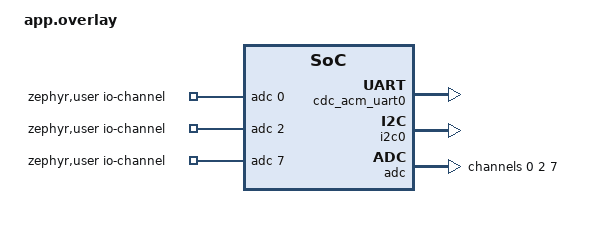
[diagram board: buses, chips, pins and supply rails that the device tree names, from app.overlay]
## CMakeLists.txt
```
# SPDX-License-Identifier: Apache-2.0

cmake_minimum_required(VERSION 3.20.0)
find_package(Zephyr REQUIRED HINTS $ENV{ZEPHYR_BASE})
project(MDL_interface_board_test_v1.0)

FILE(GLOB app_sources src/*.c)
target_sources(app PRIVATE ${app_sources})
```

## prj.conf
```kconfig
CONFIG_STDOUT_CONSOLE=y
CONFIG_USB_DEVICE_STACK=y
CONFIG_USB_DEVICE_PRODUCT="INTERFACE BOARD"
CONFIG_LOG=y
CONFIG_USB_DRIVER_LOG_LEVEL_ERR=y
CONFIG_USB_DEVICE_LOG_LEVEL_ERR=y
CONFIG_SERIAL=y
CONFIG_UART_INTERRUPT_DRIVEN=y
CONFIG_UART_LINE_CTRL=y
CONFIG_ADC=y
#CONFIG_ADC_ASYNC=y

CONFIG_BOARD_ENABLE_DCDC=n
CONFIG_BOARD_ENABLE_DCDC_HV=n
CONFIG_DEBUG_THREAD_INFO=y
CONFIG_DEBUG_OPTIMIZATIONS=y
CONFIG_I2C=y
CONFIG_I2C_NRFX=y
CONFIG_NRFX_TWI0=y
```

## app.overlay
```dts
/*
 * Copyright (c) 2021 Nordic Semiconductor ASA
 *
 * SPDX-License-Identifier: Apache-2.0
 */

/ {
	zephyr,user {
		io-channels = <&adc 0>, <&adc 2>, <&adc 7>;
	};
};

&zephyr_udc0 {
	cdc_acm_uart0 {
		compatible = "zephyr,cdc-acm-uart";
	};
};


&i2c0 {
	compatible = "nordic,nrf-twi";
	status = "okay";
	pinctrl-0 = <&i2c0_default>;	// SDA=P0.06, SCL=P0.26
	pinctrl-1 = <&i2c0_sleep>;
	pinctrl-names = "default", "sleep";
};

&adc {
	#address-cells = <1>;
	#size-cells = <0>;

	channel@0 {
		reg = <0>;
		zephyr,gain = "ADC_GAIN_1_6";
		zephyr,reference = "ADC_REF_INTERNAL";
		zephyr,acquisition-time = <ADC_ACQ_TIME(ADC_ACQ_TIME_MICROSECONDS, 10)>;
		zephyr,input-positive = <NRF_SAADC_AIN0>; /* P0.02 */
		zephyr,resolution = <12>;
	};

	channel@2 {
		reg = <2>;
		zephyr,gain = "ADC_GAIN_1_6";
		zephyr,reference = "ADC_REF_INTERNAL";
		zephyr,acquisition-time = <ADC_ACQ_TIME(ADC_ACQ_TIME_MICROSECONDS, 10)>;
		zephyr,input-positive = <NRF_SAADC_AIN2>; /* P0.04 */
		zephyr,resolution = <12>;
	};

	channel@7 {
		reg = <7>;
		zephyr,gain = "ADC_GAIN_1_6";
		zephyr,reference = "ADC_REF_INTERNAL";
		zephyr,acquisition-time = <ADC_ACQ_TIME(ADC_ACQ_TIME_MICROSECONDS, 10)>;
		zephyr,input-positive = <NRF_SAADC_AIN5>; /* P0.29 */
		zephyr,resolution = <12>;
	};
};
```

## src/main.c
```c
/*
 * Copyright (c) 2019 Intel Corporation
 *
 * SPDX-License-Identifier: Apache-2.0
 */

/**
 * @file
 * @brief Sample echo app for CDC ACM class
 *
 * Sample app for USB CDC ACM class driver. The received data is echoed back
 * to the serial port.
 */


#include <stdio.h>
#include <zephyr/kernel.h>
#include <zephyr/device.h>
#include <zephyr/devicetree.h>
#include <zephyr/drivers/uart.h>
#include <zephyr/drivers/gpio.h>
#include <zephyr/sys/ring_buffer.h>
#include <string.h>

#include <zephyr/drivers/i2c.h>

#include <zephyr/usb/usb_device.h>
#include <zephyr/logging/log.h>
LOG_MODULE_REGISTER(cdc_acm_echo, LOG_LEVEL_INF);

#include "analog.h"
#include "pcf8523.h"

/* ADC RELATED */
#if !DT_NODE_EXISTS(DT_PATH(zephyr_user)) || !DT_NODE_HAS_PROP(DT_PATH(zephyr_user), io_channels)
#error "No suitable devicetree overlay specified"
#endif

#define DT_SPEC_AND_COMMA(node_id, prop, idx) ADC_DT_SPEC_GET_BY_IDX(node_id, idx),

/* Data of ADC io-channels specified in devicetree. */
static const struct adc_dt_spec adc_channels[] = {
	DT_FOREACH_PROP_ELEM(DT_PATH(zephyr_user), io_channels, DT_SPEC_AND_COMMA)
};


/* UART RING BUFFER DEFINES */
#define RING_BUF_SIZE 1024
uint8_t ring_buffer[RING_BUF_SIZE];
struct ring_buf usb_tx_ringbuf;
struct ring_buf usb_rx_ringbuf;
struct ring_buf uart1_tx_ringbuf;
struct ring_buf uart1_rx_ringbuf;


/* Get all the pins specs from the board .dts file */
const struct gpio_dt_spec LED1 = GPIO_DT_SPEC_GET(DT_NODELABEL(led1), gpios);
const struct gpio_dt_spec LED2 = GPIO_DT_SPEC_GET(DT_NODELABEL(led2), gpios);
// const struct gpio_dt_spec SCL_PIN = GPIO_DT_SPEC_GET(DT_NODELABEL(b1_1_pin), gpios);
// const struct gpio_dt_spec SDA_PIN = GPIO_DT_SPEC_GET(DT_NODELABEL(b2_1_pin), gpios);
const struct gpio_dt_spec COMM_PIN = GPIO_DT_SPEC_GET(DT_NODELABEL(b3_1_pin), gpios);
const struct gpio_dt_spec STS_LED_PIN = GPIO_DT_SPEC_GET(DT_NODELABEL(b4_1_pin), gpios);
const struct gpio_dt_spec SPARE_0_PIN = GPIO_DT_SPEC_GET(DT_NODELABEL(b1_2_pin), gpios);
const struct gpio_dt_spec SPARE_1_PIN = GPIO_DT_SPEC_GET(DT_NODELABEL(b2_2_pin), gpios);
const struct gpio_dt_spec SPARE_3_PIN = GPIO_DT_SPEC_GET(DT_NODELABEL(b3_2_pin), gpios);
const struct gpio_dt_spec DIR_PIN = GPIO_DT_SPEC_GET(DT_NODELABEL(b4_2_pin), gpios);
const struct gpio_dt_spec PLS_PIN = GPIO_DT_SPEC_GET(DT_NODELABEL(b1_3_pin), gpios);
const struct gpio_dt_spec TAMPER_PIN = GPIO_DT_SPEC_GET(DT_NODELABEL(b2_3_pin), gpios);
const struct gpio_dt_spec SPARE_2_PIN = GPIO_DT_SPEC_GET(DT_NODELABEL(b3_3_pin), gpios);
const struct gpio_dt_spec SPARE_4_PIN = GPIO_DT_SPEC_GET(DT_NODELABEL(b4_3_pin), gpios);
// const struct gpio_dt_spec TX_CON_PIN = GPIO_DT_SPEC_GET(DT_NODELABEL(b1_4_pin), gpios);
// const struct gpio_dt_spec RX_CON_PIN = GPIO_DT_SPEC_GET(DT_NODELABEL(b2_4_pin), gpios);
const struct gpio_dt_spec EXTRA_1_PIN = GPIO_DT_SPEC_GET(DT_NODELABEL(b3_4_pin), gpios);
const struct gpio_dt_spec EXTRA_2_PIN = GPIO_DT_SPEC_GET(DT_NODELABEL(b4_4_pin), gpios);

const struct gpio_dt_spec AP22_EN_PIN = GPIO_DT_SPEC_GET(DT_NODELABEL(ap22_en_pin), gpios);
const struct gpio_dt_spec AP22_FLG_PIN = GPIO_DT_SPEC_GET(DT_NODELABEL(ap22_flg_pin), gpios);
const struct gpio_dt_spec SHUNT_BYPASS_PIN = GPIO_DT_SPEC_GET(DT_NODELABEL(shunt_bypass_pin), gpios);
const struct gpio_dt_spec SHUNT_EN_PIN = GPIO_DT_SPEC_GET(DT_NODELABEL(shunt_en_pin), gpios);
const struct gpio_dt_spec LS_OE = GPIO_DT_SPEC_GET(DT_NODELABEL(level_shift_oe), gpios);


const struct device *dev_UART1 = DEVICE_DT_GET(DT_NODELABEL(uart1));
const struct device *dev_GPIO0 = DEVICE_DT_GET(DT_NODELABEL(gpio0));
const struct device *dev_GPIO1 = DEVICE_DT_GET(DT_NODELABEL(gpio1));
const struct device *dev_USB   = DEVICE_DT_GET_ONE(zephyr_cdc_acm_uart);
const struct device *dev_I2C0 = DEVICE_DT_GET(DT_NODELABEL(i2c0));

/* timeout in milliseconds for led blinking */
#define LED_BLINK_TIME_OUT_MS	100	/* milliseconds */
#define LED_BLINK_TO			LED_BLINK_TIME_OUT_MS * (CONFIG_SYS_CLOCK_HW_CYCLES_PER_SEC)/1000
/* timeout in milliseconds for adc sampling */
#define ADC_TIME_OUT_MS			1000	/* milliseconds */
#define ADC_TO					ADC_TIME_OUT_MS * (CONFIG_SYS_CLOCK_HW_CYCLES_PER_SEC)/1000

enum states{
			st_output_voltage,
			st_read_rtc,
			st_test_rs232,
			st_results
};


void configure_and_set_io_pins();

static void usb_uart_interrupt_handler(const struct device *dev, void *user_data)
{
	ARG_UNUSED(user_data);

	while (uart_irq_update(dev) && uart_irq_is_pending(dev)) {

		/* Interrupt triggered by RX pin */
		if (uart_irq_rx_ready(dev)) {
			int recv_len, rb_len;
			uint8_t buffer[64];
			size_t len = MIN(ring_buf_space_get(&usb_rx_ringbuf),
					 sizeof(buffer));

			recv_len = uart_fifo_read(dev, buffer, len);
			if (recv_len < 0) {
				LOG_ERR("Failed to read UART FIFO");
				recv_len = 0;
			};

			rb_len = ring_buf_put(&usb_rx_ringbuf, buffer, recv_len);
			if (rb_len < recv_len) {
				LOG_ERR("Drop %u bytes", recv_len - rb_len);
			}
		}

		/* Interrupt triggered by TX pin */
		if (uart_irq_tx_ready(dev)) {
			uint8_t buffer[64];
			int rb_len, send_len;

			rb_len = ring_buf_get(&usb_tx_ringbuf, buffer, sizeof(buffer));
			if (!rb_len) {
				LOG_DBG("Ring buffer empty, disable TX IRQ");
				uart_irq_tx_disable(dev);
				continue;
			}

			send_len = uart_fifo_fill(dev, buffer, rb_len);
			if (send_len < rb_len) {
				LOG_ERR("Drop %d bytes", rb_len - send_len);
			}

			LOG_DBG("usb_tx_ringbuf -> tty fifo %d bytes", send_len);
		}
	}
}


static void uart1_interrupt_handler(const struct device *dev, void *user_data)
{
	ARG_UNUSED(user_data);

	while (uart_irq_update(dev) && uart_irq_is_pending(dev)) {

		/* Interrupt triggered by RX pin */
		if (uart_irq_rx_ready(dev)) {
			int recv_len, rb_len;
			uint8_t buffer[64];
			size_t len = MIN(ring_buf_space_get(&uart1_rx_ringbuf),
					 sizeof(buffer));

			recv_len = uart_fifo_read(dev, buffer, len);
			if (recv_len < 0) {
				LOG_ERR("Failed to read UART FIFO");
				recv_len = 0;
			};

			rb_len = ring_buf_put(&uart1_rx_ringbuf, buffer, recv_len);
			if (rb_len < recv_len) {
				LOG_ERR("Drop %u bytes", recv_len - rb_len);
			}
		}

		/* Interrupt triggered by TX pin */
		if (uart_irq_tx_ready(dev)) {
			uint8_t buffer[64];
			int rb_len, send_len;

			rb_len = ring_buf_get(&uart1_tx_ringbuf, buffer, sizeof(buffer));
			if (!rb_len) {
				LOG_DBG("Ring buffer empty, disable TX IRQ");
				uart_irq_tx_disable(dev);
				continue;
			}

			send_len = uart_fifo_fill(dev, buffer, rb_len);
			if (send_len < rb_len) {
				LOG_ERR("Drop %d bytes", rb_len - send_len);
			}

			LOG_DBG("usb_tx_ringbuf -> tty fifo %d bytes", send_len);
		}
	}
}

void setup_usb(const struct device *dev)
{
	int ret;
	uint32_t baudrate = 0U;
	
	
	ret = uart_line_ctrl_get(dev, UART_LINE_CTRL_BAUD_RATE, &baudrate);
	if (ret) {
		LOG_WRN("Failed to get baudrate, ret code %d", ret);
	} else {
		LOG_INF("Baudrate detected: %d", baudrate);
	}
}


/* MAIN ENTRY POINT */
void main(void)
{
	//uint32_t baudrate, dtr = 0U;
	int ret;
	int32_t mv_Val=0;

	uint8_t str[100];
	int64_t ts=0;
	struct tm time = {0};
	char time_str[10];
	char date_str[10];
	int time_1 = 0;
	int time_2 = 0;
	uint32_t recv_len;
	uint8_t buffer[64];
	uint8_t *ptr;	

	/* Verify that devices are ready to use */
	if(!device_is_ready(dev_UART1)){ LOG_ERR("UART1 device not ready"); return;}
	if(!device_is_ready(dev_GPIO0)){ LOG_ERR("GPIO0 device not ready"); return;}
	if(!device_is_ready(dev_GPIO1)){ LOG_ERR("GPIO1 device not ready"); return;}
	if(!device_is_ready(dev_USB))  { LOG_ERR("CDC ACM device not ready"); return;}
	/* Verify USB is enabled */
	ret = usb_enable(NULL);
	if (ret != 0){ LOG_ERR("Failed to enable USB"); return; }

	/* Configure direction of IO pins and set the value according to application */
	configure_and_set_io_pins();
	
	/* Configure ADC channels individually prior to sampling. */
	for (size_t i = 0U; i < ARRAY_SIZE(adc_channels); i++) {
		adc_init_chn(&adc_channels[i]);
	}

	/* Do USB-specific work not related to UART, waits for the host device to connect */
	setup_usb(dev_USB);

	// Configure/Initialize i2c controller and RTC module
	pcf8523_init(dev_I2C0);

	/* Initialize data ring buffers used by the uart module */
	ring_buf_init(&usb_rx_ringbuf, sizeof(ring_buffer), ring_buffer);
	ring_buf_init(&usb_tx_ringbuf, sizeof(ring_buffer), ring_buffer);
	ring_buf_init(&uart1_rx_ringbuf, sizeof(ring_buffer), ring_buffer);
	ring_buf_init(&uart1_tx_ringbuf, sizeof(ring_buffer), ring_buffer);

	/* Attach interrupt handler to USB UART port */
	uart_irq_callback_set(dev_USB, usb_uart_interrupt_handler);

	/* Enable usb uart rx interrupts */
	uart_irq_rx_enable(dev_USB);

	/* Attach interrupt handler to UART1 port */
	uart_irq_callback_set(dev_UART1, uart1_interrupt_handler);

	/* Enable uart1 rx interrupts */
	uart_irq_rx_enable(dev_UART1);

	// Wait for 2 seconds
	k_msleep(2000);

	int index=0;
	// Check switchover flag status
	if(pcf8523_switchover_occurred(dev_I2C0)){
		// Switch-over occured
		/* Send value through uart for debug purposes */
		sprintf(str, "\nSwitch-over flag set.\n");
		index =  strlen(str);

		pcf8523_get_time_tm(dev_I2C0, &time);
		time_1 = time.tm_sec;
		convert_time_ascii(&time, time_str, date_str);

		sprintf(&str[index], "\nStart time: %s", time_str);
		ring_buf_put(&usb_tx_ringbuf, str, strlen(str));
		uart_irq_tx_enable(dev_USB);

	}else{
		// No switch-over occured
		sprintf(str, "\nSwitch-over flag clear.\n");
		index =  strlen(str);

		// Set time and date to 1664506805: 03:00:05 30/09/2022
		ts = 1664506805;
		pcf8523_set_time(dev_I2C0, &ts);

		pcf8523_get_time_tm(dev_I2C0, &time);
		time_1 = time.tm_sec;
		convert_time_ascii(&time, time_str, date_str);

		sprintf(&str[index], "\nStart time: %s \n", time_str);
		ring_buf_put(&usb_tx_ringbuf, str, strlen(str));
		uart_irq_tx_enable(dev_USB);
	}

	// Wait for 2 seconds
	k_msleep(2000);

	pcf8523_get_time_tm(dev_I2C0, &time);
	time_2 = time.tm_sec;
	convert_time_ascii(&time, time_str, date_str);
	sprintf(str, "\nTime after 2 seconds: %s\n", time_str);
	ring_buf_put(&usb_tx_ringbuf, str, strlen(str));
	uart_irq_tx_enable(dev_USB);

	if(time_1 > 57)
		time_2 += 60;
	if((time_2-time_1) == 2){
		ring_buf_put(&usb_tx_ringbuf, "\nPASSED\n", 7);
		uart_irq_tx_enable(dev_USB);
	}else{
		ring_buf_put(&usb_tx_ringbuf, "\nFAILED\n", 7);
		uart_irq_tx_enable(dev_USB);
	}

	uint8_t adc_str[60];
	/* Read voltage value and make sure the voltage is 3.45V at the output of buck converter */
	while((mv_Val < LOWER_3v45) || (mv_Val > UPPER_3v45)){
		mv_Val = adc_read_ps_3v6(&adc_channels[ADC_3v45_CHN]);
		gpio_pin_toggle(LED1.port, LED1.pin);
		gpio_pin_toggle(LED2.port, LED2.pin);
		k_msleep(350);	
	}

	
	/* Send value through uart for debug purposes */
	sprintf(adc_str, " - Output Voltage: %d mV\n\n\n", mv_Val);
	ring_buf_put(&usb_tx_ringbuf, adc_str, strlen(adc_str));
	uart_irq_tx_enable(dev_USB);	
	gpio_pin_set_raw(LED1.port, LED1.pin, 0);
	gpio_pin_set_raw(LED2.port, LED2.pin, 0);


	/* Test RS-232 Comms */
	while(1){
		sprintf(&str, "UART1 Test:\n");
		ring_buf_put(&uart1_tx_ringbuf, str, strlen(str));
		uart_irq_tx_enable(dev_UART1);

		k_msleep(500);// Wait for 2 seconds

		recv_len = ring_buf_get(&uart1_rx_ringbuf, buffer, sizeof(buffer));
		if(recv_len) {
			ptr = strchr(buffer, '\n');
			if(ptr != NULL){
				// Line feed character received, process command
				/* Send value through uart for debug purposes */
				ring_buf_put(&usb_tx_ringbuf, buffer, 12);
				uart_irq_tx_enable(dev_USB);
			}
		}
		
		k_msleep(2000);// Wait for 2 seconds
	};
		

	uint32_t startTime = k_cycle_get_32();
	uint32_t startTime2 = k_cycle_get_32();

	/* Infinite Loop */
	while(1){


		/* Toggle leds every x time */
		if((k_cycle_get_32() - startTime) > LED_BLINK_TO){
			gpio_pin_toggle(LED1.port, LED1.pin);
			gpio_pin_toggle(LED2.port, LED2.pin);
			startTime = k_cycle_get_32();
		}
		
	}
}



void configure_and_set_io_pins(){
	/* Configure the direction of the board IO pins */
	gpio_pin_configure_dt(&LED1, GPIO_OUTPUT);
	gpio_pin_configure_dt(&LED2, GPIO_OUTPUT);
	//gpio_pin_configure_dt(&SCL_PIN, GPIO_OUTPUT);
	//gpio_pin_configure_dt(&SDA_PIN, GPIO_OUTPUT);
	gpio_pin_configure_dt(&COMM_PIN, GPIO_OUTPUT);
	gpio_pin_configure_dt(&STS_LED_PIN, GPIO_OUTPUT);
	gpio_pin_configure_dt(&SPARE_0_PIN, GPIO_OUTPUT);
	gpio_pin_configure_dt(&SPARE_1_PIN, GPIO_OUTPUT);
	gpio_pin_configure_dt(&SPARE_3_PIN, GPIO_OUTPUT);
	gpio_pin_configure_dt(&DIR_PIN, GPIO_OUTPUT);
	gpio_pin_configure_dt(&PLS_PIN, GPIO_OUTPUT);
	gpio_pin_configure_dt(&TAMPER_PIN, GPIO_OUTPUT);
	gpio_pin_configure_dt(&SPARE_2_PIN, GPIO_OUTPUT);
	gpio_pin_configure_dt(&SPARE_4_PIN, GPIO_OUTPUT);
	// gpio_pin_configure_dt(&TX_CON_PIN, GPIO_OUTPUT);	// Used for uart1 rx
	// gpio_pin_configure_dt(&RX_CON_PIN, GPIO_OUTPUT);	// Used for uart1 tx
	gpio_pin_configure_dt(&EXTRA_1_PIN, GPIO_OUTPUT);
	gpio_pin_configure_dt(&EXTRA_2_PIN, GPIO_OUTPUT);
	gpio_pin_configure_dt(&AP22_EN_PIN, GPIO_OUTPUT);
	gpio_pin_configure_dt(&AP22_FLG_PIN, GPIO_INPUT);
	gpio_pin_configure_dt(&SHUNT_BYPASS_PIN, GPIO_OUTPUT);
	gpio_pin_configure_dt(&SHUNT_EN_PIN, GPIO_OUTPUT);
	gpio_pin_configure_dt(&LS_OE, GPIO_OUTPUT);

	/* Set the default value of IO Pins */
	gpio_pin_set_raw(LED1.port, LED1.pin, 0);
	gpio_pin_set_raw(LED2.port, LED2.pin, 0);
	gpio_pin_set_raw(LS_OE.port, LS_OE.pin, 1); 					/* Enable level shifters */
	// gpio_pin_set_raw(SCL_PIN.port, SCL_PIN.pin, 0);
	// gpio_pin_set_raw(SDA_PIN.port, SDA_PIN.pin, 0);
	gpio_pin_set_raw(COMM_PIN.port, COMM_PIN.pin, 0);
	gpio_pin_set_raw(STS_LED_PIN.port, STS_LED_PIN.pin, 0);
	gpio_pin_set_raw(SPARE_0_PIN.port, SPARE_0_PIN.pin, 0);
	gpio_pin_set_raw(SPARE_1_PIN.port, SPARE_1_PIN.pin, 0);
	gpio_pin_set_raw(SPARE_3_PIN.port, SPARE_3_PIN.pin, 0);
	gpio_pin_set_raw(DIR_PIN.port, DIR_PIN.pin, 0);
	gpio_pin_set_raw(PLS_PIN.port, PLS_PIN.pin, 0);
	gpio_pin_set_raw(TAMPER_PIN.port, TAMPER_PIN.pin,  0);
	gpio_pin_set_raw(SPARE_2_PIN.port, SPARE_2_PIN.pin, 0);
	gpio_pin_set_raw(SPARE_4_PIN.port, SPARE_4_PIN.pin, 0);
	// gpio_pin_set_raw(TX_CON_PIN.port, TX_CON_PIN.pin, 0);	// Used for uart1 rx
	// gpio_pin_set_raw(RX_CON_PIN.port, RX_CON_PIN.pin, 0);	// Used for uart1 tx
	gpio_pin_set_raw(EXTRA_1_PIN.port, EXTRA_1_PIN.pin, 0);
	gpio_pin_set_raw(EXTRA_2_PIN.port, EXTRA_2_PIN.pin, 0);
	gpio_pin_set_raw(AP22_EN_PIN.port, AP22_EN_PIN.pin, 0);				/* Disable AP22 Power switch */
	gpio_pin_set_raw(SHUNT_BYPASS_PIN.port, SHUNT_BYPASS_PIN.pin, 0);	/* Disable Shunt bypass path */
	gpio_pin_set_raw(SHUNT_EN_PIN.port, SHUNT_EN_PIN.pin, 0);			/* Disable Shunt Resistor path */
}
```

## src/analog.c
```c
#include <inttypes.h>
#include <stddef.h>
#include <stdint.h>

#include "analog.h"

#define BUFFER_SIZE 1
static int16_t m_sample_buffer[BUFFER_SIZE];

int32_t adc_init_chn(const struct adc_dt_spec *adc_spec){

    int err;
    
    if (!device_is_ready(adc_spec->dev)) {
        printk("ADC controller device not ready\n");
        return 1;
    }

    err = adc_channel_setup_dt(adc_spec);
    if (err < 0) {
        printk("Could not setup channel: err (%d)\n", err);
        return 2;
    }

    return 0;
}

int32_t adc_read_chn_raw(const struct adc_dt_spec *adc_spec){
    int err;

	struct adc_sequence sequence = {
		.buffer = m_sample_buffer,
		/* buffer size in bytes, not number of samples */
		.buffer_size = sizeof(m_sample_buffer),
	};

    (void)adc_sequence_init_dt(adc_spec, &sequence);

    err = adc_read(adc_spec->dev, &sequence);
    if (err < 0) {
        printk("Could not read (%d)\n", err);
        return -1;

    } else {

        return (int32_t)m_sample_buffer[0];
    }
}


int32_t adc_read_chn_mV(const struct adc_dt_spec *adc_spec){
    int32_t val_mv;
    int err;

	struct adc_sequence sequence = {
		.buffer = m_sample_buffer,
		/* buffer size in bytes, not number of samples */
		.buffer_size = sizeof(m_sample_buffer),
	};

    (void)adc_sequence_init_dt(adc_spec, &sequence);

    err = adc_read(adc_spec->dev, &sequence);
    if (err < 0) {
        printk("Could not read (%d)\n", err);
        return -1;

    } else {

        /* conversion to mV */
        val_mv = m_sample_buffer[0];
        err = adc_raw_to_millivolts_dt(adc_spec, &val_mv);
        if (err < 0) {
            printk(" (value in mV not available)\n");
            return -1;
        } else {
            /* return mv value*/
            return val_mv;
        }
    }

    
}

int32_t adc_read_dut_1v8(const struct adc_dt_spec *adc_spec){

    int32_t val_mv;
    
    val_mv = adc_read_chn_mV(adc_spec);

    return val_mv*2;

}

int32_t adc_read_ps_3v6(const struct adc_dt_spec *adc_spec){
    int32_t val_mv;
    
    val_mv = adc_read_chn_mV(adc_spec);

    return val_mv*2;
}


int32_t adc_read_dut_current_uA(const struct adc_dt_spec *adc_spec){
    int32_t current_uA;
    int32_t offset = 95;

    current_uA = adc_read_chn_raw(adc_spec);
    current_uA = ((current_uA*879)/50/30) + offset;

    return current_uA;
}
```

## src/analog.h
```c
#ifndef ANALOG_H
#define	ANALOG_H


#include <zephyr/drivers/adc.h>

/* MAXIMUM ACCEPTABLE SLEEP CURRENT FOR DUT */
#define DUT_MAX_SLEEP_CURRENT_UA    190

/* Upper and lower threshold for buck output voltage */
#define UPPER_3v45   3500
#define LOWER_3v45   3400

/* Upper and lower threshold for dut output voltage */
#define UPPER_1v8   1900
#define LOWER_1v8   1700

/* ADC channel array indexing - Check devicetree to get the order */
#define ADC_CURRENT_CHN     0
#define ADC_3v6_CHN         1
#define ADC_3v45_CHN         2

int32_t adc_init_chn(const struct adc_dt_spec *adc_spec);
int32_t adc_read_chn_raw(const struct adc_dt_spec *adc_spec);
int32_t adc_read_chn_mV(const struct adc_dt_spec *adc_spec);
int32_t adc_read_dut_1v8(const struct adc_dt_spec *adc_spec);
int32_t adc_read_ps_3v6(const struct adc_dt_spec *adc_spec);
int32_t adc_read_dut_current_uA(const struct adc_dt_spec *adc_spec);

#endif /* DUT_UART HEADER*/
```

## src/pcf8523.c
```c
#include "pcf8523.h"


#include <zephyr/drivers/i2c.h>
#include <zephyr/sys/timeutil.h>
#include <string.h>

/*!
* @brief Initialize/Configure i2C controller and RTC module
*
* @param dev Pointer to the device structure for an I2C controller
* driver configured in master mode.
*
* @return 0 if succesful
* @return 1 if i2c controller is not ready
*
*/
uint32_t pcf8523_init(const struct device *dev){
	uint8_t i2c_buff[7] = {0};

	// Configure I2C peripheral
	i2c_configure(dev, I2C_SPEED_SET(I2C_SPEED_STANDARD));

	if(!device_is_ready(dev)){ 
		printk("Coud not get i2c device binding\n");
		return 1;
	}

	// Set pointer to the Control_3 register and write the switchover functionality. leave the rest to default values
	i2c_buff[0] = PCF8523_CONTROL_3_ADD; // Control_3 Register (Address 02h)
	if(pcf8523_switchover_occurred(dev))
		// if switchover ocurred do not clear the flag yet
		i2c_buff[1] = PCF8523_CTRL3_SO_MODE_4_MASK|PCF8523_CTRL3_BSF_MASK; // battery switch-over function is enabled in standard mode;battery low detection function is disabled*/
	else
		i2c_buff[1] = PCF8523_CTRL3_SO_MODE_4_MASK; // battery switch-over function is enabled in standard mode;battery low detection function is disabled*/
	i2c_write(dev, i2c_buff, 2, PCF8523_SLAVE_ADD);
	return 0;
}

/*!
* @brief Checks if the switch-over flag is set and returns its state
*
* @param dev Pointer to the device structure for an I2C controller
* driver configured in master mode.
*
* @return 0 if no switch-over event occured
* @return 1 if a sitch-over event occurred
*
*/
uint32_t pcf8523_switchover_occurred(const struct device *dev){
	
	uint8_t i2c_buff[7] = {0};
	uint8_t switch_over = 0;

	i2c_buff[0] = PCF8523_CONTROL_3_ADD; // Register Control_3 (Address 02h)
	i2c_write_read(dev, PCF8523_SLAVE_ADD, i2c_buff, 1, &i2c_buff[1], 1);

	switch_over = i2c_buff[1] & PCF8523_CTRL3_BSF_MASK; // Get BSF flag state

	if(switch_over)
		return true;// Switch-over event occurred
	else
		return false;// No switch-over event occurred
}

/*
 * Function from https://stackoverflow.com/questions/19377396/c-get-day-of-year-from-date
 */
static int yisleap(int year)
{
	return (year % 4 == 0 && year % 100 != 0) || (year % 400 == 0);
}

/*
 * Function from https://stackoverflow.com/questions/19377396/c-get-day-of-year-from-date
 */
static int get_yday(int mon, int day, int year)
{
	static const int days[2][12] = {
		{0, 31, 59, 90, 120, 151, 181, 212, 243, 273, 304, 334},
		{0, 31, 60, 91, 121, 152, 182, 213, 244, 274, 305, 335}};
	int leap = yisleap(year);

	/* Minus 1 since gmtime starts from 0 */
	return days[leap][mon] + day - 1;
}

/*!
* @brief Writes date and time to RTC.
*
* @param dev Pointer to the device structure for an I2C controller
* driver configured in master mode.
* @param ts Pointer to the time in seconds since January 01 1970 (UTC)
*
* @return 0 if successful
* @return 1 if not successful
*
*/
uint32_t pcf8523_set_time(const struct device *dev, int64_t *ts){

	uint8_t i2c_buff[7] = {0};

	/* Convert time to struct tm */
	struct tm *tm_p= gmtime(ts);
	struct tm time = {0};

	if (tm_p != NULL){
		memcpy(&time, tm_p, sizeof(struct tm));
	}
	else{	// Unable to convert to broken down UTC
		return 1;
	}

	// Set pointer to the seconds register and write the time and date
	i2c_buff[0] = PCF8523_SECONDS_MASK & (((time.tm_sec/10) << PCF8523_BCD_UPPER_SHIFT) + (time.tm_sec%10));	// Number of seconds in BCD
	i2c_buff[1] = PCF8523_MINUTES_MASK & (((time.tm_min/10) << PCF8523_BCD_UPPER_SHIFT) + (time.tm_min%10));	// Number of minutes in BCD
	i2c_buff[2] = PCF8523_HOURS_MASK & (((time.tm_hour/10) << PCF8523_BCD_UPPER_SHIFT) + (time.tm_hour%10));	// Number of hours in BCD - 24hr format
	i2c_buff[3] = PCF8523_DAYS_MASK & (((time.tm_mday/10) << PCF8523_BCD_UPPER_SHIFT) + (time.tm_mday%10));		// Day of the month
	i2c_buff[4] = PCF8523_WEEKDAYS_MASK & time.tm_wday;															// Day of the week Since Sunday
	i2c_buff[5] = PCF8523_MONTHS_MASK & (((time.tm_mon/10) << PCF8523_BCD_UPPER_SHIFT) + (time.tm_mon%10));		// Day of the month
	uint8_t year = time.tm_year%100;
	i2c_buff[6] = ((year / 10) << PCF8523_BCD_UPPER_SHIFT) + (year % 10); // year

	// Send data through I2C
	i2c_burst_write(dev, PCF8523_SLAVE_ADD, PCF8523_SECONDS_ADD, i2c_buff, sizeof(i2c_buff));

	return 0;
}

/*!
* @brief Reads date and time from RTC in Unix Epoch (seconds since January 01 1970 (UTC)).
*
* @param dev Pointer to the device structure for an I2C controller
* driver configured in master mode.
* @param ts Pointer where the amounts of seconds since January 01 1970 (UTC) will be stored
*
* @return 0 if successful
* @return 1 if not successful
*
*/
uint32_t pcf8523_get_time(const struct device *dev, int64_t *ts){

	uint8_t i2c_buff[7] = {0};
	struct tm time = {0};

	// Read data from I2C
	i2c_burst_read(dev, PCF8523_SLAVE_ADD, PCF8523_SECONDS_ADD, i2c_buff, sizeof(i2c_buff));

	
	time.tm_sec = (i2c_buff[0] & PCF8523_BCD_LOWER_MASK) + (((i2c_buff[0] & PCF8523_BCD_UPPER_MASK_SEC) >> PCF8523_BCD_UPPER_SHIFT) * 10);/* Get seconds */
	time.tm_min = (i2c_buff[1] & PCF8523_BCD_LOWER_MASK) + (((i2c_buff[1] & PCF8523_BCD_UPPER_MASK) >> PCF8523_BCD_UPPER_SHIFT) * 10);/* Get minutes */
	time.tm_hour = (i2c_buff[2] & PCF8523_BCD_LOWER_MASK) + (((i2c_buff[2] & PCF8523_BCD_UPPER_MASK) >> PCF8523_BCD_UPPER_SHIFT) * 10);/* Get hours */
	time.tm_mday = (i2c_buff[3] & PCF8523_BCD_LOWER_MASK) + (((i2c_buff[3] & PCF8523_BCD_UPPER_MASK) >> PCF8523_BCD_UPPER_SHIFT) * 10);/* Get days */
	time.tm_wday = (i2c_buff[4] & PCF8523_BCD_LOWER_MASK) + (((i2c_buff[4] & PCF8523_BCD_UPPER_MASK) >> PCF8523_BCD_UPPER_SHIFT) * 10);/* Get weekdays */
	time.tm_mon = (i2c_buff[5] & PCF8523_BCD_LOWER_MASK) + (((i2c_buff[5] & PCF8523_BCD_UPPER_MASK) >> PCF8523_BCD_UPPER_SHIFT) * 10);/* Get month */
	time.tm_year = (i2c_buff[6] & PCF8523_BCD_LOWER_MASK) + (((i2c_buff[6] & PCF8523_BCD_UPPER_MASK) >> PCF8523_BCD_UPPER_SHIFT) * 10) + 100;/* Get year with offset of 100 since we're in 2000+ */
	time.tm_yday = get_yday(time.tm_mon, time.tm_mday, time.tm_year + 1900);/* Get day number in year */
	time.tm_isdst = 0;/* DST not used  */

	*ts = timeutil_timegm64(&time);

	return 0;
}

/*!
* @brief Reads date and time from RTC in time struct tm.
*
* @param dev Pointer to the device structure for an I2C controller
* driver configured in master mode.
* @param time Pointer to the tm struct
*
* @return 0 if successful
* @return 1 if not successful
*
*/
uint32_t pcf8523_get_time_tm(const struct device *dev, struct tm *time){

	uint8_t i2c_buff[7] = {0};

	// Read data from I2C
	i2c_burst_read(dev, PCF8523_SLAVE_ADD, PCF8523_SECONDS_ADD, i2c_buff, sizeof(i2c_buff));

	
	time->tm_sec = (i2c_buff[0] & PCF8523_BCD_LOWER_MASK) + (((i2c_buff[0] & PCF8523_BCD_UPPER_MASK_SEC) >> PCF8523_BCD_UPPER_SHIFT) * 10);/* Get seconds */
	time->tm_min = (i2c_buff[1] & PCF8523_BCD_LOWER_MASK) + (((i2c_buff[1] & PCF8523_BCD_UPPER_MASK) >> PCF8523_BCD_UPPER_SHIFT) * 10);/* Get minutes */
	time->tm_hour = (i2c_buff[2] & PCF8523_BCD_LOWER_MASK) + (((i2c_buff[2] & PCF8523_BCD_UPPER_MASK) >> PCF8523_BCD_UPPER_SHIFT) * 10);/* Get hours */
	time->tm_mday = (i2c_buff[3] & PCF8523_BCD_LOWER_MASK) + (((i2c_buff[3] & PCF8523_BCD_UPPER_MASK) >> PCF8523_BCD_UPPER_SHIFT) * 10);/* Get days */
	time->tm_wday = (i2c_buff[4] & PCF8523_BCD_LOWER_MASK) + (((i2c_buff[4] & PCF8523_BCD_UPPER_MASK) >> PCF8523_BCD_UPPER_SHIFT) * 10);/* Get weekdays */
	time->tm_mon = (i2c_buff[5] & PCF8523_BCD_LOWER_MASK) + (((i2c_buff[5] & PCF8523_BCD_UPPER_MASK) >> PCF8523_BCD_UPPER_SHIFT) * 10);/* Get month */
	time->tm_year = (i2c_buff[6] & PCF8523_BCD_LOWER_MASK) + (((i2c_buff[6] & PCF8523_BCD_UPPER_MASK) >> PCF8523_BCD_UPPER_SHIFT) * 10) + 100;/* Get year with offset of 100 since we're in 2000+ */
	time->tm_yday = get_yday(time->tm_mon, time->tm_mday, time->tm_year + 1900);/* Get day number in year */
	time->tm_isdst = 0;/* DST not used  */

	return 0;
}

void convert_time_ascii(struct tm *time, char *tstr, char *dstr){

	int qty=0;
	
	qty += u8_to_dec(tstr, 3, (uint8_t)time->tm_hour);
	if(time->tm_hour < 10){
		tstr[qty] = tstr[qty-1];
		tstr[qty-1] = '0';
		tstr[qty+1] = ':';
		qty += 2;
	}else{
		tstr[qty] = ':';
		qty++;
	}
	qty += u8_to_dec(&tstr[qty], 3, (uint8_t)time->tm_min);
	if(time->tm_min < 10){
		tstr[qty] = tstr[qty-1];
		tstr[qty-1] = '0';
		tstr[qty+1] = ':';
		qty += 2;
	}else{
		tstr[qty] = ':';
		qty++;
	}
	qty += u8_to_dec(&tstr[qty], 3, (uint8_t)time->tm_sec);
	if(time->tm_sec < 10){
		tstr[qty] = tstr[qty-1];
		tstr[qty-1] = '0';
	}
	qty++;
	tstr[qty] = 0;

	// Convert date to str
	qty=0;
	qty += u8_to_dec(dstr, 3, (uint8_t)time->tm_mday);
	if(time->tm_mday < 10){
		dstr[qty] = dstr[qty-1];
		dstr[qty-1] = '0';
		dstr[qty+1] = '/';
		qty += 2;
	}else{
		dstr[qty] = '/';
		qty++;
	}
	qty += u8_to_dec(&dstr[qty], 3, (uint8_t)time->tm_mon + 1);
	if((time->tm_mon+1) < 10){
		dstr[qty] = dstr[qty-1];
		dstr[qty-1] = '0';
		dstr[qty+1] = '/';
		qty += 2;
	}else{
		dstr[qty] = '/';
		qty++;
	}
	qty += u8_to_dec(&dstr[qty], 3, (uint8_t)time->tm_year - 100);
	if((time->tm_year-100) < 10){
		dstr[qty] = dstr[qty-1];
		dstr[qty-1] = '0';
	}
	qty++;
	dstr[qty] = 0;

	return;
}
```

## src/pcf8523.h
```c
#ifndef PCF8523_H
#define PCF8523_H

#include <zephyr/device.h>
#include <time.h>

// I2C device slave address
#define PCF8523_SLAVE_ADD           0x68

// BCD related
#define PCF8523_BCD_UPPER_SHIFT     4
#define PCF8523_BCD_LOWER_MASK      0x0F
#define PCF8523_BCD_UPPER_MASK      0xF0
#define PCF8523_BCD_UPPER_MASK_SEC  0x70

// Control_1; Control and status Register Masks
#define PCF8523_CONTROL_1_ADD       0x00
#define PCF8523_CTRL1_CIE_MASK      BIT(0) // interrupt pulses are generated at every correction cycle
#define PCF8523_CTRL1_AIE_MASK      BIT(1) // alarm interrupt enabled
#define PCF8523_CTRL1_SIE_MASK      BIT(2) // second interrupt enabled
#define PCF8523_CTRL1_12_24_MASK    BIT(3) // 12 hour mode is selected
#define PCF8523_CTRL1_SR_MASK       BIT(4) // initiate software reset
#define PCF8523_CTRL1_STOP_MASK     BIT(5) //  RTC time circuits frozen;
#define PCF8523_CTRL1_T_MASK        BIT(6) // unused
#define PCF8523_CTRL1_CAP_SEL_MASK  BIT(7) //internal oscillator capacitor selection for quartz crystals with a corresponding load capacitance. Selects 12.5pF

// Control_2; Control and status Register Masks
#define PCF8523_CONTROL_2_ADD       0x01
#define PCF8523_CTRL2_CTBIE_MASK    BIT(0) // enable countdown timer B interrupt
#define PCF8523_CTRL2_CTAIE_MASK    BIT(1) // enable countdown timer A interrupt
#define PCF8523_CTRL2_WTAIE_MASK    BIT(2) // enable watchdog timer A interrupt i
#define PCF8523_CTRL2_AF_MASK       BIT(3) // flag set when alarm triggered; flag must be cleared to clear interrupt
#define PCF8523_CTRL2_SF_MASK       BIT(4) // flag set when second interrupt generated; flag must be cleared to clear interrupt
#define PCF8523_CTRL2_CTBF_MASK     BIT(5) // flag set when countdown timer B interrupt generated; flag must be cleared to clear interrupt
#define PCF8523_CTRL2_CTAF_MASK     BIT(6) // flag set when countdown timer A interrupt generated; flag must be cleared to clear interrupt
#define PCF8523_CTRL2_WTAF_MASK     BIT(7) // flag set when watchdog timer A interrupt generated; flag is read-only and cleared by reading register Control_2

// Control_3; Control and status Register Masks
#define PCF8523_CONTROL_3_ADD       0x02
#define PCF8523_CTRL3_BLIE_MASK     BIT(0) // enable interrupt generation when BLF gets set
#define PCF8523_CTRL3_BSIE_MASK     BIT(1) //enable interrupt generated when BSF gets set
#define PCF8523_CTRL3_BLF_MASK      BIT(2) //battery status low; flag is read-only
#define PCF8523_CTRL3_BSF_MASK      BIT(3) //flag set when battery switch-over occurs
/* Power Management configuration modes*/
#define PCF8523_CTRL3_SO_MODE_0_MASK    0x00  /* battery switch-over is enabled in standard mode; battery low detection function is enabled*/
#define PCF8523_CTRL3_SO_MODE_1_MASK    0x20  /* battery switch-over function is enabled in direct switching mode; battery low detection function is enabled*/
#define PCF8523_CTRL3_SO_MODE_2_MASK    0x40  /* battery switch-over function is disabled - only one power supply (VDD); battery low detection function is enabled*/
#define PCF8523_CTRL3_SO_MODE_3_MASK    0x40  /* battery switch-over function is disabled - only one power supply (VDD); battery low detection function is enabled*/
#define PCF8523_CTRL3_SO_MODE_4_MASK    0x80  /* battery switch-over function is enabled in standard mode;battery low detection function is disabled*/
#define PCF8523_CTRL3_SO_MODE_5_MASK    0xA0  /* battery switch-over function is enabled in direct switching mode; battery low detection function is disabled*/
#define PCF8523_CTRL3_SO_MODE_6_MASK    0xE0  /* battery switch-over function is disabled - only one power supply (VDD);battery low detection function is disabled*/
                                                

// Time and date related
#define PCF8523_SECONDS_ADD         0x03
#define PCF8523_SECONDS_OS          BIT(7)
#define PCF8523_SECONDS_MASK        0x7F

#define PCF8523_MINUTES_ADD         0x04
#define PCF8523_MINUTES_MASK        0x7F

#define PCF8523_HOURS_ADD           0x05
#define PCF8523_HOURS_AM_PM         BIT(5)
#define PCF8523_HOURS_MASK          0x3F

#define PCF8523_DAYS_ADD            0x06
#define PCF8523_DAYS_MASK           0x3F

#define PCF8523_WEEKDAYS_ADD        0x07
#define PCF8523_WEEKDAYS_MASK       0x07
#define PCF8523_WEEKDAYS_SUN        0x00
#define PCF8523_WEEKDAYS_MON        0x01
#define PCF8523_WEEKDAYS_TUE        0x02
#define PCF8523_WEEKDAYS_WED        0x03
#define PCF8523_WEEKDAYS_THR        0x04
#define PCF8523_WEEKDAYS_FRI        0x05
#define PCF8523_WEEKDAYS_SAT        0x06

#define PCF8523_MONTHS_ADD          0x08
#define PCF8523_MONTHS_MASK         0x1F
#define PCF8523_MONTHS_JAN          0x01
#define PCF8523_MONTHS_FEB          0x02
#define PCF8523_MONTHS_MAR          0x03
#define PCF8523_MONTHS_APR          0x04
#define PCF8523_MONTHS_MAY          0x05
#define PCF8523_MONTHS_JUN          0x06
#define PCF8523_MONTHS_JUL          0x07
#define PCF8523_MONTHS_AUG          0x08
#define PCF8523_MONTHS_SEP          0x09
#define PCF8523_MONTHS_OCT          0x10
#define PCF8523_MONTHS_NOV          0x11
#define PCF8523_MONTHS_DEC          0x12

#define PCF8523_YEARS_ADD           0x09


uint32_t pcf8523_init(const struct device *dev);
uint32_t pcf8523_switchover_occurred(const struct device *dev);
uint32_t pcf8523_set_time(const struct device *dev, int64_t *ts);
uint32_t pcf8523_get_time(const struct device *dev, int64_t *ts);
uint32_t pcf8523_get_time_tm(const struct device *dev, struct tm *time);
void convert_time_ascii(struct tm *time, char *tstr, char *dstr);


#endif /* DUT_SPI HEADER*/
```
